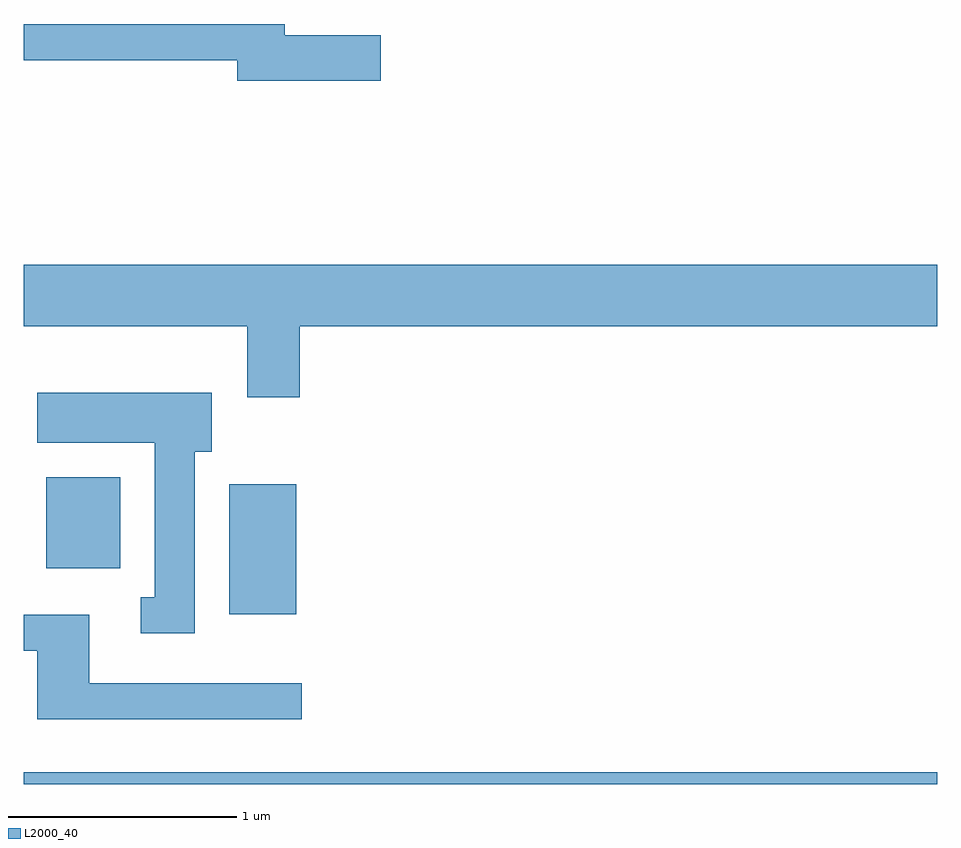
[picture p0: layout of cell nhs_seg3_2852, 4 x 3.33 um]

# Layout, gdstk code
import gdstk
lib = gdstk.Library(unit=1e-6, precision=1e-09)
def R(c, l, rs):  # rectangles x0, y0, x1, y1
    for r in rs: c.add(gdstk.rectangle(r[:2], r[2:], *l))
def P(c, l, *ps):  # polygons
    for p in ps: c.add(gdstk.Polygon(p, *l))
L2000_40 = (2000, 40)

nhs_seg3_2852 = lib.new_cell('nhs_seg3_2852')
R(nhs_seg3_2852, L2000_40, [(267.611,1243.892,271.611,1243.944), (268.511,1244.636,268.804,1245.204), (267.711,1244.836,268.034,1245.234)])
P(nhs_seg3_2852, L2000_40, [(269.174,1247.169),(268.754,1247.169),(268.754,1247.219),(267.611,1247.219),(267.611,1247.061),(268.546,1247.061),(268.546,1246.971),(269.174,1246.971)],
  [(267.611,1245.896),(268.591,1245.896),(268.591,1245.586),(268.819,1245.586),(268.819,1245.896),(271.611,1245.896),(271.611,1246.164),(267.611,1246.164)],
  [(268.359,1245.346),(268.434,1245.346),(268.434,1245.604),(267.671,1245.604),(267.671,1245.386),(268.186,1245.386),(268.186,1244.709),(268.123,1244.709),(268.123,1244.551),(268.359,1244.551)],
  [(268.828,1244.334),(267.899,1244.334),(267.899,1244.634),(267.611,1244.634),(267.611,1244.476),(267.671,1244.476),(267.671,1244.176),(268.828,1244.176)])

lib.write_gds('nhs_seg3_2852.gds')
